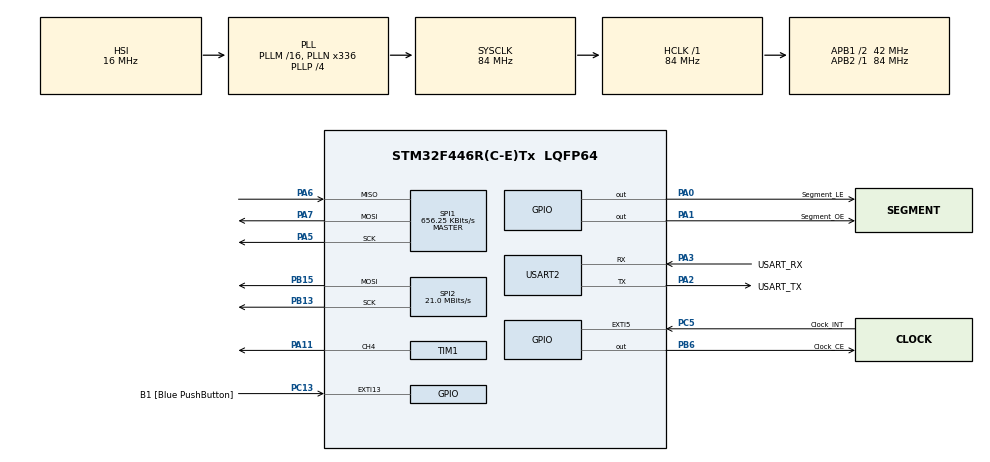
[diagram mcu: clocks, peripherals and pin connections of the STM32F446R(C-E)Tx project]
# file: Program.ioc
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Mcu.Family=STM32F4
Mcu.Name=STM32F446R(C-E)Tx
Mcu.Package=LQFP64
NVIC.EXTI9_5_IRQn=true\:0\:0\:false\:false\:true\:true\:true\:true
NVIC.PriorityGroup=NVIC_PRIORITYGROUP_0
NVIC.SPI1_IRQn=true\:0\:0\:false\:false\:true\:true\:true\:true
NVIC.SPI2_IRQn=true\:0\:0\:false\:false\:true\:true\:true\:true
NVIC.TIM2_IRQn=true\:0\:0\:false\:false\:true\:true\:true\:true
NVIC.USART2_IRQn=true\:0\:0\:false\:false\:true\:true\:true\:true
PA0-WKUP.GPIO_Label=Segment_LE
PA0-WKUP.Signal=GPIO_Output
PA1.GPIO_Label=Segment_OE
PA1.PinState=GPIO_PIN_SET
PA1.Signal=GPIO_Output
PA11.Signal=S_TIM1_CH4
PA13.GPIO_Label=TMS
PA13.Signal=SYS_JTMS-SWDIO
PA14.GPIO_Label=TCK
PA14.Signal=SYS_JTCK-SWCLK
PA2.GPIO_Label=USART_TX
PA2.Mode=Asynchronous
PA2.Signal=USART2_TX
PA3.GPIO_Label=USART_RX
PA3.Mode=Asynchronous
PA3.Signal=USART2_RX
PA5.Mode=Full_Duplex_Master
PA5.Signal=SPI1_SCK
PA6.Mode=Full_Duplex_Master
PA6.Signal=SPI1_MISO
PA7.Mode=Full_Duplex_Master
PA7.Signal=SPI1_MOSI
PB13.Mode=TX_Only_Simplex_Unidirect_Master
PB13.Signal=SPI2_SCK
PB15.Mode=TX_Only_Simplex_Unidirect_Master
PB15.Signal=SPI2_MOSI
PB3.GPIO_Label=SWO
PB3.Signal=SYS_JTDO-SWO
PB6.GPIO_Label=Clock_CE
PB6.Signal=GPIO_Output
PC13.GPIO_Label=B1 [Blue PushButton]
PC13.GPIO_ModeDefaultEXTI=GPIO_MODE_IT_FALLING
PC13.Signal=GPXTI13
PC14-OSC32_IN.Signal=RCC_OSC32_IN
PC15-OSC32_OUT.Signal=RCC_OSC32_OUT
PC5.GPIO_Label=Clock_INT
PC5.GPIO_ModeDefaultEXTI=GPIO_MODE_IT_FALLING
PC5.GPIO_PuPd=GPIO_PULLUP
PC5.Signal=GPXTI5
PH0-OSC_IN.Signal=RCC_OSC_IN
PH1-OSC_OUT.Signal=RCC_OSC_OUT
ProjectManager.HeapSize=0x200
ProjectManager.StackSize=0x400
ProjectManager.TargetToolchain=STM32CubeIDE
RCC.AHBFreq_Value=84000000
RCC.APB1CLKDivider=RCC_HCLK_DIV2
RCC.APB1Freq_Value=42000000
RCC.APB1TimFreq_Value=84000000
RCC.APB2Freq_Value=84000000
RCC.APB2TimFreq_Value=84000000
RCC.CortexFreq_Value=84000000
RCC.FLatency-AdvancedSettings=FLASH_LATENCY_2
RCC.HCLKFreq_Value=84000000
RCC.HSE_VALUE=8000000
RCC.HSI_VALUE=16000000
RCC.LSE_VALUE=32768
RCC.PLLN=336
RCC.PLLP=RCC_PLLP_DIV4
RCC.SYSCLKFreq_VALUE=84000000
RCC.SYSCLKSource=RCC_SYSCLKSOURCE_PLLCLK
RCC.USBFreq_Value=168000000
RCC.VCOOutputFreq_Value=336000000
SH.S_TIM1_CH4.0=TIM1_CH4,PWM Generation4 CH4
SPI1.BaudRatePrescaler=SPI_BAUDRATEPRESCALER_128
SPI1.CLKPhase=SPI_PHASE_2EDGE
SPI1.CLKPolarity=SPI_POLARITY_LOW
SPI1.CalculateBaudRate=656.25 KBits/s
SPI1.Direction=SPI_DIRECTION_2LINES
SPI1.Mode=SPI_MODE_MASTER
SPI1.VirtualType=VM_MASTER
SPI2.CalculateBaudRate=21.0 MBits/s
SPI2.Direction=SPI_DIRECTION_2LINES
SPI2.Mode=SPI_MODE_MASTER
SPI2.VirtualType=VM_MASTER
TIM1.Channel-PWM\ Generation4\ CH4=TIM_CHANNEL_4
TIM1.Period=100-1
TIM1.Prescaler=84-1
TIM2.AutoReloadPreload=TIM_AUTORELOAD_PRELOAD_DISABLE
TIM2.Period=10000-1
TIM2.Prescaler=8400-1
USART2.VirtualMode=VM_ASYNC
VP_TIM1_VS_ClockSourceINT.Mode=Internal
VP_TIM2_VS_ClockSourceINT.Mode=Internal
board=NUCLEO-F446RE

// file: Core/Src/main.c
/* USER CODE BEGIN Header */
/**
  ******************************************************************************
  * @file           : main.c
  * @brief          : Main program body
  ******************************************************************************
  * @attention
  *
  * Copyright (c) 2023 STMicroelectronics.
  * All rights reserved.
  *
  * This software is licensed under terms that can be found in the LICENSE file
  * in the root directory of this software component.
  * If no LICENSE file comes with this software, it is provided AS-IS.
  *
  ******************************************************************************
  */
/* USER CODE END Header */
#include "main.h"
#include "spi.h"
#include "tim.h"
#include "usart.h"
#include "gpio.h"

/* USER CODE BEGIN PV */
Time curr_time;
uint8_t refresh;
Commands client_command;
uint8_t finished_receiving;
uint8_t profile[MINUTES_PER_DAY];
uint8_t crc[CRC_LENGTH];
Error err;
HAL_StatusTypeDef status;

const char days[7][10] = {"Hetfo","Kedd", "Szerda", "Csutortok", "Pentek", "Szombat", "Vasarnap"};
/* USER CODE END PV */

void SystemClock_Config(void);

/* USER CODE BEGIN 0 */
HAL_StatusTypeDef SendTime(Time curr_time);
Time ReceivedTime();
void SendError(Error er);

void Sys_SetPWM(){
	Set_DutyCycle(profile[60*(uint16_t)curr_time.Hour+(uint16_t)curr_time.Minute]);
}

void Sys_WriteTime(){
	Digits digits;
	digits.First = curr_time.Minute_FirstDigit;
	digits.Second = curr_time.Minute_SecondDigit;
	digits.Third = curr_time.Hour_FirstDigit;
	digits.Fourth = curr_time.Hour_SecondDigit;

	status = Send_Digits(digits);
	if(status != HAL_OK){
		err.happend = 1;
		err.status = status;
		err.type = WriteDigits;
	}
}

void Sys_ReadTime(){
	status = Clock_ReadTime(&curr_time);
	if(status != HAL_OK){
		err.happend = 1;
		err.status = status;
		err.type = ReadTimeError;
		return;
	}
	while(curr_time.finished != 1);
	Sys_WriteTime();
	Sys_SetPWM();
}
/* USER CODE END 0 */

int main(void)
{

  /* MCU Configuration--------------------------------------------------------*/

  /* Reset of all peripherals, Initializes the Flash interface and the Systick. */
HAL_Init();

  /* Configure the system clock */
  SystemClock_Config();

  /* Initialize all configured peripherals */
  MX_GPIO_Init();
  MX_SPI1_Init();
  MX_SPI2_Init();
  MX_TIM1_Init();
  MX_TIM2_Init();
  MX_USART2_UART_Init();
  /* USER CODE BEGIN 2 */
  Clock_SetUp();
  Start_PWM();
  HAL_TIM_Base_Start_IT(&htim2);

  refresh = 0;
  client_command = NoCommand;
  finished_receiving = 0;
  err.happend = 0;
  err.command = NoCommand;
  err.status = HAL_OK;
  err.type = NoError;
  status = HAL_OK;

  HAL_UART_MspInit(&huart2);
  ReceiveCommand();
  Sys_ReadTime();

  for(int i = 0; i<11;i++)
	  profile[15*60+i] = i*10;
  /* USER CODE END 2 */

  /* Infinite loop */
  while (1)
  {

    /* USER CODE BEGIN 3 */
	  if(err.happend){
		  SendError(err);
		  err.command = NoCommand;
		  err.happend = 0;
		  err.status = HAL_OK;
		  err.type = NoError;
	  }

	  if(refresh){
		  status = Clock_AckInt();
		  if(status != HAL_OK){
			  err.command = NoCommand;
			  err.happend = 1;
			  err.status = status;
			  err.type = InterruptACK;
			  continue;
		  }
		  Sys_ReadTime();

		  refresh=0;
	  }
	  //if(finished_receiving && !error){
	  if(finished_receiving && err.happend == 0){
		  switch(client_command){
		  case NoCommand:
			  break;
		  case WriteTime:
			  do{
				  status = Clock_SetTime(ReceivedTime());
			  }while(status == HAL_BUSY);
			  if(status != HAL_OK){
				  err.command = WriteTime;
				  err.happend = 1;
				  err.status = status;
				  err.type = SetTime;
			  }
			  Sys_ReadTime();
			  break;
		  case ReadTime:
			  Sys_ReadTime();
			  do{
				  status = SendTime(curr_time);
			  }while(status == HAL_BUSY);
			  if(status != HAL_OK){
				  err.command = ReadTime;
				  err.happend = 1;
				  err.status = status;
				  err.type = TimeSending;
			  }
			  break;
		  case WriteProfile:
			  if(xcrc32(profile, MINUTES_PER_DAY) == ArrayToCRC(crc, CRC_LENGTH)){
				  Sys_SetPWM();
			  }
			  else{
				  err.happend = 1;
				  err.command = WriteProfile;
				  err.status = status;
				  err.type = CRCError;
			  }

			  break;
		  case ReadProfile:
			  do{
				  status = SendProfile();
			  }while(status == HAL_BUSY);
			  if(status != HAL_OK){
				  err.happend = 1;
				  err.command = ReadProfile;
				  err.status = status;
				  err.type = ProfileSending;

			  }
			  break;
		  case Test:
			  do{
				  status = TestCom();
			  }
			  while(status == HAL_BUSY);
			  if(status != HAL_OK){
				  err.happend = 1;
				  err.command = Test;
				  err.status = status;
				  err.type = TestingError;
			  }
		  	  break;
		  case TestError:
			  do{
				  Sys_ReadTime();
				  status = SendErrorTest(curr_time);
			  }
			  while(status == HAL_BUSY);
			  if(status != HAL_OK){
				  err.happend = 1;
				  err.command = Test;
				  err.status = status;
				  err.type = TestingError;
			  }
		  	  break;
		  }
		  client_command = NoCommand;
		  finished_receiving = 0;
	  }
  }
  /* USER CODE END 3 */
}

void SystemClock_Config(void)
{
  RCC_OscInitTypeDef RCC_OscInitStruct = {0};
  RCC_ClkInitTypeDef RCC_ClkInitStruct = {0};

  /** Configure the main internal regulator output voltage
  */
  __HAL_RCC_PWR_CLK_ENABLE();
  __HAL_PWR_VOLTAGESCALING_CONFIG(PWR_REGULATOR_VOLTAGE_SCALE3);

  /** Initializes the RCC Oscillators according to the specified parameters
  * in the RCC_OscInitTypeDef structure.
  */
  RCC_OscInitStruct.OscillatorType = RCC_OSCILLATORTYPE_HSI;
  RCC_OscInitStruct.HSIState = RCC_HSI_ON;
  RCC_OscInitStruct.HSICalibrationValue = RCC_HSICALIBRATION_DEFAULT;
  RCC_OscInitStruct.PLL.PLLState = RCC_PLL_ON;
  RCC_OscInitStruct.PLL.PLLSource = RCC_PLLSOURCE_HSI;
  RCC_OscInitStruct.PLL.PLLM = 16;
  RCC_OscInitStruct.PLL.PLLN = 336;
  RCC_OscInitStruct.PLL.PLLP = RCC_PLLP_DIV4;
  RCC_OscInitStruct.PLL.PLLQ = 2;
  RCC_OscInitStruct.PLL.PLLR = 2;
  if (HAL_RCC_OscConfig(&RCC_OscInitStruct) != HAL_OK)
  {
    Error_Handler();
  }

  /** Initializes the CPU, AHB and APB buses clocks
  */
  RCC_ClkInitStruct.ClockType = RCC_CLOCKTYPE_HCLK|RCC_CLOCKTYPE_SYSCLK
                              |RCC_CLOCKTYPE_PCLK1|RCC_CLOCKTYPE_PCLK2;
  RCC_ClkInitStruct.SYSCLKSource = RCC_SYSCLKSOURCE_PLLCLK;
  RCC_ClkInitStruct.AHBCLKDivider = RCC_SYSCLK_DIV1;
  RCC_ClkInitStruct.APB1CLKDivider = RCC_HCLK_DIV2;
  RCC_ClkInitStruct.APB2CLKDivider = RCC_HCLK_DIV1;

  if (HAL_RCC_ClockConfig(&RCC_ClkInitStruct, FLASH_LATENCY_2) != HAL_OK)
  {
    Error_Handler();
  }
}

void Error_Handler(void)
{
  __disable_irq();
  while (1)
  {
  }
}
